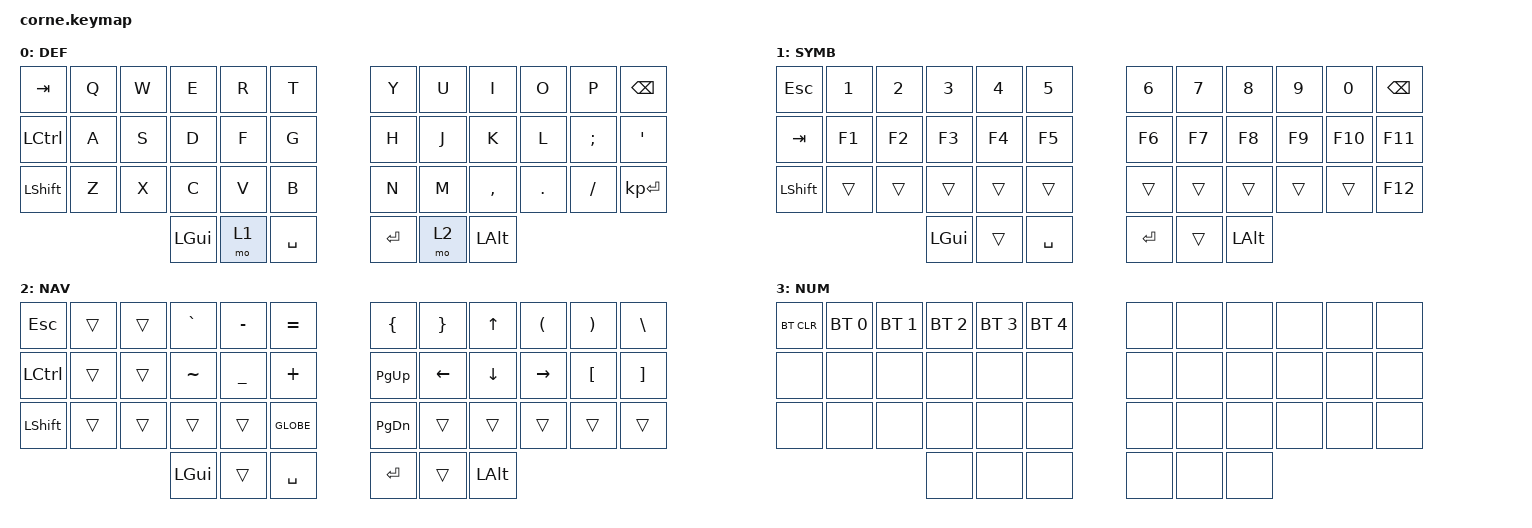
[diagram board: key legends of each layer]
/*
 * Copyright (c) 2020 The ZMK Contributors
 *
 * SPDX-License-Identifier: MIT
 */

#include <behaviors.dtsi>
#include <dt-bindings/zmk/bt.h>
#include <dt-bindings/zmk/keys.h>

#define DEFAULT_L 0
#define SYMBOLS_L 1
#define ARROWS_L  2
#define NUMBERS_L 3

/ {
    keymap {
        compatible = "zmk,keymap";

        default_layer {
            label = "DEF";
            bindings = <
&kp TAB    &kp Q  &kp W  &kp E     &kp R  &kp T        &kp Y    &kp U  &kp I      &kp O    &kp P     &kp BACKSPACE
&kp LCTRL  &kp A  &kp S  &kp D     &kp F  &kp G        &kp H    &kp J  &kp K      &kp L    &kp SEMI  &kp SQT
&kp LSHFT  &kp Z  &kp X  &kp C     &kp V  &kp B        &kp N    &kp M  &kp COMMA  &kp DOT  &kp FSLH  &kp KP_ENTER
                         &kp LGUI  &mo 1  &kp SPACE    &kp RET  &mo 2  &kp LALT
            >;
        };

        symbols_layer {
            label = "SYMB";
            bindings = <
&kp ESC     &kp N1  &kp N2  &kp N3    &kp N4  &kp N5       &kp N6     &kp N7  &kp N8    &kp N9  &kp N0   &kp BACKSPACE
&kp TAB     &kp F1  &kp F2  &kp F3    &kp F4  &kp F5       &kp F6     &kp F7  &kp F8    &kp F9  &kp F10  &kp F11
&kp LSHIFT  &trans  &trans  &trans    &trans  &trans       &trans     &trans  &trans    &trans  &trans   &kp F12
                            &kp LGUI  &trans  &kp SPACE    &kp ENTER  &trans  &kp LALT
            >;
        };

        arrows_layer {
            label = "NAV";
            bindings = <
&kp ESC    &trans  &trans  &kp GRAVE  &kp MINUS       &kp EQUAL    &kp LEFT_BRACE  &kp RIGHT_BRACE  &kp UP    &kp LPAR   &kp RPAR          &kp BACKSLASH
&kp LCTRL  &trans  &trans  &kp TILDE  &kp UNDERSCORE  &kp PLUS     &kp PG_UP       &kp LEFT         &kp DOWN  &kp RIGHT  &kp LEFT_BRACKET  &kp RIGHT_BRACKET
&kp LSHFT  &trans  &trans  &trans     &trans          &kp GLOBE    &kp PG_DN       &trans           &trans    &trans     &trans            &trans
                           &kp LGUI   &trans          &kp SPACE    &kp ENTER       &trans           &kp LALT
            >;
        };

        numbers_layer {
            label = "NUM";
            bindings = <
&bt BT_CLR  &bt BT_SEL 0  &bt BT_SEL 1  &bt BT_SEL 2  &bt BT_SEL 3  &bt BT_SEL 4    &none  &none  &none  &none  &none  &none
&none       &none         &none         &none         &none         &none           &none  &none  &none  &none  &none  &none
&none       &none         &none         &none         &none         &none           &none  &none  &none  &none  &none  &none
                                        &none         &none         &none           &none  &none  &none
            >;
        };
    };

    conditional_layers {
        compatible = "zmk,conditional-layers";

        layer3 {
            if-layers = <1 2>;
            then-layer = <3>;
        };
    };
};
